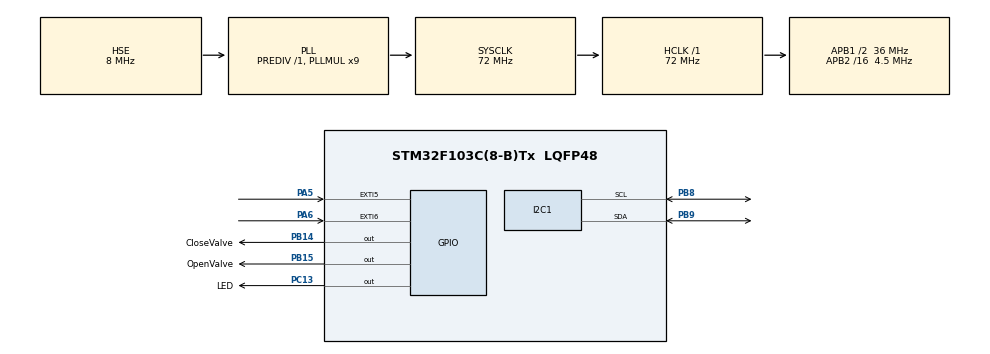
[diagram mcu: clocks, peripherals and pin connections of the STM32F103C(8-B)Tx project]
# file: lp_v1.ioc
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FREERTOS.CountingSemaphores01=WaterAlarmCountingSem,2,Dynamic,NULL;TimerDoneCountingSem,2,Dynamic,NULL
FREERTOS.Queues01=commandQueue,5,uint8_t,0,Dynamic,NULL,NULL
FREERTOS.Tasks01=waterValveTask,24,256,StartwaterValveTask,Default,NULL,Dynamic,NULL,NULL;myCommandTask,24,256,StartmyCommandTask,Default,NULL,Dynamic,NULL,NULL
FREERTOS.configUSE_NEWLIB_REENTRANT=1
Mcu.Family=STM32F1
Mcu.Name=STM32F103C(8-B)Tx
Mcu.Package=LQFP48
NVIC.EXTI9_5_IRQn=true\:5\:0\:false\:false\:true\:true\:true\:true\:true
NVIC.PriorityGroup=NVIC_PRIORITYGROUP_4
NVIC.TIM1_UP_IRQn=true\:5\:0\:false\:false\:true\:true\:true\:true\:true
NVIC.TIM4_IRQn=true\:15\:0\:false\:false\:true\:false\:false\:true\:true
NVIC.TimeBase=TIM4_IRQn
NVIC.TimeBaseIP=TIM4
PA13.Mode=Trace_Asynchronous_SW
PA13.Signal=SYS_JTMS-SWDIO
PA14.Mode=Trace_Asynchronous_SW
PA14.Signal=SYS_JTCK-SWCLK
PA5.GPIO_ModeDefaultEXTI=GPIO_MODE_IT_FALLING
PA5.Signal=GPXTI5
PA6.GPIO_ModeDefaultEXTI=GPIO_MODE_IT_FALLING
PA6.Signal=GPXTI6
PB14.GPIO_Label=CloseValve
PB14.PinState=GPIO_PIN_SET
PB14.Signal=GPIO_Output
PB15.GPIO_Label=OpenValve
PB15.PinState=GPIO_PIN_SET
PB15.Signal=GPIO_Output
PB3.Mode=Trace_Asynchronous_SW
PB3.Signal=SYS_JTDO-TRACESWO
PB8.Mode=I2C
PB8.Signal=I2C1_SCL
PB9.Mode=I2C
PB9.Signal=I2C1_SDA
PC13-TAMPER-RTC.GPIO_Label=LED
PC13-TAMPER-RTC.Signal=GPIO_Output
PC13-TAMPER-RTC.Stacked=true
PD0-OSC_IN.Mode=HSE-External-Oscillator
PD0-OSC_IN.Signal=RCC_OSC_IN
PD1-OSC_OUT.Mode=HSE-External-Oscillator
PD1-OSC_OUT.Signal=RCC_OSC_OUT
ProjectManager.HeapSize=0x200
ProjectManager.StackSize=0x400
ProjectManager.TargetToolchain=STM32CubeIDE
RCC.AHBFreq_Value=72000000
RCC.APB1CLKDivider=RCC_HCLK_DIV2
RCC.APB1Freq_Value=36000000
RCC.APB1TimFreq_Value=72000000
RCC.APB2CLKDivider=RCC_HCLK_DIV16
RCC.APB2Freq_Value=4500000
RCC.APB2TimFreq_Value=9000000
RCC.HCLKFreq_Value=72000000
RCC.PLLMUL=RCC_PLL_MUL9
RCC.PLLSourceVirtual=RCC_PLLSOURCE_HSE
RCC.SYSCLKFreq_VALUE=72000000
RCC.SYSCLKSource=RCC_SYSCLKSOURCE_PLLCLK
RCC.USBFreq_Value=72000000
TIM1.Prescaler=1439
VP_FREERTOS_VS_CMSIS_V2.Mode=CMSIS_V2
VP_SYS_VS_tim4.Mode=TIM4
VP_TIM1_VS_ClockSourceINT.Mode=Internal
board=custom

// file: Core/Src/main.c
/* USER CODE BEGIN Header */
/**
  ******************************************************************************
  * @file           : main.c
  * @brief          : Main program body
  ******************************************************************************
  * @attention
  *
  * Copyright (c) 2024 STMicroelectronics.
  * All rights reserved.
  *
  * This software is licensed under terms that can be found in the LICENSE file
  * in the root directory of this software component.
  * If no LICENSE file comes with this software, it is provided AS-IS.
  *
  ******************************************************************************
  */
/* USER CODE END Header */
#include "main.h"
#include "cmsis_os.h"
#include "i2c.h"
#include "tim.h"
#include "gpio.h"

/* USER CODE BEGIN Includes */
#include "stdio.h"
#include "glob.h"
//#include "FreeRTOS.h"
/* USER CODE END Includes */

void SystemClock_Config(void);
void MX_FREERTOS_Init(void);
/* USER CODE BEGIN PFP */
int __io_putchar(int ch);
/* USER CODE END PFP */

/* USER CODE BEGIN 0 */
int __io_putchar(int ch)
{
	ITM_SendChar(ch);
	return(ch);
}
/* USER CODE END 0 */

int main(void)
{

  /* MCU Configuration--------------------------------------------------------*/

  /* Reset of all peripherals, Initializes the Flash interface and the Systick. */
  HAL_Init();

  /* Configure the system clock */
  SystemClock_Config();

  /* Initialize all configured peripherals */
  MX_GPIO_Init();
  MX_I2C1_Init();
  MX_TIM1_Init();

  /* Init scheduler */
  osKernelInitialize();

  /* Call init function for freertos objects (in freertos.c) */
  MX_FREERTOS_Init();

  /* Start scheduler */
  osKernelStart();

  /* We should never get here as control is now taken by the scheduler */
  /* Infinite loop */
  while (1)
  {

  }
}

void SystemClock_Config(void)
{
  RCC_OscInitTypeDef RCC_OscInitStruct = {0};
  RCC_ClkInitTypeDef RCC_ClkInitStruct = {0};

  /** Initializes the RCC Oscillators according to the specified parameters
  * in the RCC_OscInitTypeDef structure.
  */
  RCC_OscInitStruct.OscillatorType = RCC_OSCILLATORTYPE_HSE;
  RCC_OscInitStruct.HSEState = RCC_HSE_ON;
  RCC_OscInitStruct.HSEPredivValue = RCC_HSE_PREDIV_DIV1;
  RCC_OscInitStruct.HSIState = RCC_HSI_ON;
  RCC_OscInitStruct.PLL.PLLState = RCC_PLL_ON;
  RCC_OscInitStruct.PLL.PLLSource = RCC_PLLSOURCE_HSE;
  RCC_OscInitStruct.PLL.PLLMUL = RCC_PLL_MUL9;
  if (HAL_RCC_OscConfig(&RCC_OscInitStruct) != HAL_OK)
  {
    Error_Handler();
  }

  /** Initializes the CPU, AHB and APB buses clocks
  */
  RCC_ClkInitStruct.ClockType = RCC_CLOCKTYPE_HCLK|RCC_CLOCKTYPE_SYSCLK
                              |RCC_CLOCKTYPE_PCLK1|RCC_CLOCKTYPE_PCLK2;
  RCC_ClkInitStruct.SYSCLKSource = RCC_SYSCLKSOURCE_PLLCLK;
  RCC_ClkInitStruct.AHBCLKDivider = RCC_SYSCLK_DIV1;
  RCC_ClkInitStruct.APB1CLKDivider = RCC_HCLK_DIV2;
  RCC_ClkInitStruct.APB2CLKDivider = RCC_HCLK_DIV16;

  if (HAL_RCC_ClockConfig(&RCC_ClkInitStruct, FLASH_LATENCY_2) != HAL_OK)
  {
    Error_Handler();
  }
}

/* USER CODE BEGIN 4 */
void HAL_GPIO_EXTI_Callback(uint16_t GPIO_Pin){
	if(GPIO_Pin == GPIO_PIN_5 || GPIO_Pin == GPIO_PIN_6){
		printf("! - %d\n", GPIO_Pin);
		osSemaphoreRelease(WaterAlarmCountingSemHandle);
	}
}
/* USER CODE END 4 */

void HAL_TIM_PeriodElapsedCallback(TIM_HandleTypeDef *htim)
{
  /* USER CODE BEGIN Callback 0 */
	if(htim->Instance == TIM1) //check if the interrupt comes from TIM1
	{
		HAL_TIM_Base_Stop_IT(&htim1);
		printf("tim1\n");
		osSemaphoreRelease(TimerDoneCountingSemHandle);
	    //__HAL_TIM_CLEAR_FLAG(&htim1, TIM_SR_UIF);
	 }

  /* USER CODE END Callback 0 */
  if (htim->Instance == TIM4) {
    HAL_IncTick();
  }
}

void Error_Handler(void)
{
  __disable_irq();
  while (1)
  {
  }
}

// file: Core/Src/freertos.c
/* USER CODE BEGIN Header */
/**
  ******************************************************************************
  * File Name          : freertos.c
  * Description        : Code for freertos applications
  ******************************************************************************
  * @attention
  *
  * Copyright (c) 2024 STMicroelectronics.
  * All rights reserved.
  *
  * This software is licensed under terms that can be found in the LICENSE file
  * in the root directory of this software component.
  * If no LICENSE file comes with this software, it is provided AS-IS.
  *
  ******************************************************************************
  */
/* USER CODE END Header */

#include "FreeRTOS.h"
#include "task.h"
#include "main.h"
#include "cmsis_os.h"

/* USER CODE BEGIN Includes */
#ifdef DEBUG
#include "stdio.h"
#endif
#include "tim.h"
#include "queue.h"
/* USER CODE END Includes */

/* USER CODE BEGIN PTD */
enum status // состояние шарового крана
{
    s_open = 1,   // открыт
    s_closed = 2,   // закрыт
    s_closes = 12,    // закрывается
	s_opens = 21 // открывается
};

enum commands // команды управления для шарового крана
{
	no_command = 0,
    open = 1,   // открыть
    close = 2   // закрыть
};

/* USER CODE END PTD */

/* Definitions for waterValveTask */
osThreadId_t waterValveTaskHandle;
const osThreadAttr_t waterValveTask_attributes = {
  .name = "waterValveTask",
  .stack_size = 256 * 4,
  .priority = (osPriority_t) osPriorityNormal,
};
/* Definitions for myCommandTask */
osThreadId_t myCommandTaskHandle;
const osThreadAttr_t myCommandTask_attributes = {
  .name = "myCommandTask",
  .stack_size = 256 * 4,
  .priority = (osPriority_t) osPriorityNormal,
};
/* Definitions for commandQueue */
osMessageQueueId_t commandQueueHandle;
const osMessageQueueAttr_t commandQueue_attributes = {
  .name = "commandQueue"
};
/* Definitions for WaterAlarmCountingSem */
osSemaphoreId_t WaterAlarmCountingSemHandle;
const osSemaphoreAttr_t WaterAlarmCountingSem_attributes = {
  .name = "WaterAlarmCountingSem"
};
/* Definitions for TimerDoneCountingSem */
osSemaphoreId_t TimerDoneCountingSemHandle;
const osSemaphoreAttr_t TimerDoneCountingSem_attributes = {
  .name = "TimerDoneCountingSem"
};

void StartwaterValveTask(void *argument);
void StartmyCommandTask(void *argument);

void MX_FREERTOS_Init(void); /* (MISRA C 2004 rule 8.1) */

void MX_FREERTOS_Init(void) {

  /* Create the semaphores(s) */
  /* creation of WaterAlarmCountingSem */
  WaterAlarmCountingSemHandle = osSemaphoreNew(2, 2, &WaterAlarmCountingSem_attributes);

  /* creation of TimerDoneCountingSem */
  TimerDoneCountingSemHandle = osSemaphoreNew(2, 2, &TimerDoneCountingSem_attributes);

  /* Create the queue(s) */
  /* creation of commandQueue */
  commandQueueHandle = osMessageQueueNew (5, sizeof(uint8_t), &commandQueue_attributes);

  /* Create the thread(s) */
  /* creation of waterValveTask */
  waterValveTaskHandle = osThreadNew(StartwaterValveTask, NULL, &waterValveTask_attributes);

  /* creation of myCommandTask */
  myCommandTaskHandle = osThreadNew(StartmyCommandTask, NULL, &myCommandTask_attributes);

}

void StartwaterValveTask(void *argument)
{
  /* USER CODE BEGIN StartwaterValveTask */
	portBASE_TYPE xStatus;
	enum status st = open;
	enum commands cm = no_command;
	osStatus_t StatusSemAlarm;
	osStatus_t StatusSemT;

	HAL_GPIO_WritePin(CloseValve_GPIO_Port, CloseValve_Pin, GPIO_PIN_RESET);
	st = s_closes; // шаровый кран закрывается
	osDelay(10000);// время для полного закрытия крана
	st = s_closed; // кран закрыт
	HAL_GPIO_WritePin(CloseValve_GPIO_Port, CloseValve_Pin, GPIO_PIN_SET);

  /* Infinite loop */
  for(;;)
  {
	  StatusSemAlarm = osSemaphoreAcquire(WaterAlarmCountingSemHandle, 100);
	  StatusSemT = osSemaphoreAcquire(TimerDoneCountingSemHandle, 100);
	  //osMessageQueueGet(commandQueueHandle, &cm, 0, 200);
	  xStatus = xQueueReceive(commandQueueHandle, &cm, 50);

#ifdef DEBUG
	  if( xStatus == pdPASS )
	  {
	  /* Операция отправки не завершена, потому что очередь была заполнена -
	     это должно означать ошибку, так как в нашем случае очередь никогда
	     не будет содержать больше одного элемента данных! */
	     printf("Received = %d\n", cm);
	  }
#endif

	  switch(st){
	  case s_open:
#ifdef DEBUG
		  printf("water valve is open\n");
#endif
		  if(StatusSemAlarm == osOK || cm == close){
			  HAL_GPIO_WritePin(CloseValve_GPIO_Port, CloseValve_Pin, GPIO_PIN_RESET);
			  st = s_closes;
			  __HAL_TIM_CLEAR_FLAG(&htim1, TIM_SR_UIF);
			  HAL_TIM_Base_Start_IT(&htim1);// timer start (in interrupt handle - HAL_GPIO_WritePin(CloseValve_GPIO_Port, CloseValve_Pin, GPIO_PIN_SET))
#ifdef DEBUG
			  printf("water alarm!\n");
#endif

		  }
		  break;
	  case s_closes:
		  if(StatusSemT == osOK){
			  HAL_GPIO_WritePin(CloseValve_GPIO_Port, CloseValve_Pin, GPIO_PIN_SET);
			  st = s_closed;
		  }
		  printf("water valve is closing...\n");
		  break;
	  case s_closed:
		  printf("water valve is closed\n");
		  if(cm == open){
			  HAL_GPIO_WritePin(OpenValve_GPIO_Port, OpenValve_Pin, GPIO_PIN_RESET);
			  st = s_opens;
			  //timer start
			  __HAL_TIM_CLEAR_FLAG(&htim1, TIM_SR_UIF);
			  HAL_TIM_Base_Start_IT(&htim1);// timer start (in interrupt handle - HAL_GPIO_WritePin(CloseValve_GPIO_Port, CloseValve_Pin, GPIO_PIN_SET))
			  printf("command open valve\n");
		  }
		  break;
	  case s_opens:
		  if(StatusSemT == osOK){
		  	HAL_GPIO_WritePin(OpenValve_GPIO_Port, OpenValve_Pin, GPIO_PIN_SET);
		  	st = s_open;
		  }
		  printf("water valve is opens\n");
		  break;
	  }
	  StatusSemAlarm = 5;
	  StatusSemT = 5;

  }
  /* USER CODE END StartwaterValveTask */
}

void StartmyCommandTask(void *argument)
{
  /* USER CODE BEGIN StartmyCommandTask */
	enum commands cm = no_command;
	portBASE_TYPE xStatus;
  /* Infinite loop */
  for(;;)
  {
	cm = open;
	osMessageQueuePut(commandQueueHandle, &cm, 0, 200);
    osDelay(20000);
    cm = close;
    xStatus = xQueueSendToBack(commandQueueHandle, &cm, 200);
#ifdef DEBUG
    printf("xStatus = %ld\n", xStatus);
#endif
    //osMessageQueuePut(commandQueueHandle, &cm, 0, 200);
    //osDelay(20000);
    vTaskDelay(20000);

  }
  /* USER CODE END StartmyCommandTask */
}
